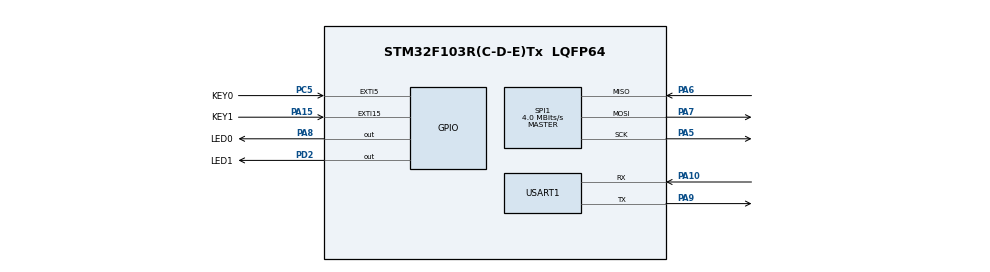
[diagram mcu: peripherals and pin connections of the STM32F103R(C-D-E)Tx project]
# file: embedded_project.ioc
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Mcu.Family=STM32F1
PA6.Mode=Full_Duplex_Master
PA7.Mode=Full_Duplex_Master
PA10.Mode=Asynchronous
SPI1.VirtualType=VM_MASTER
TIM3.AutoReloadPreload=TIM_AUTORELOAD_PRELOAD_ENABLE
PC5.GPIO_PuPd=GPIO_PULLUP
ProjectManager.StackSize=0x400
PA13.Signal=SYS_JTMS-SWDIO
PA15.GPIO_Label=KEY1
PA9.Mode=Asynchronous
PA8.GPIO_Label=LED0
ProjectManager.TargetToolchain=SW4STM32
SPI1.Direction=SPI_DIRECTION_2LINES
TIM3.Period=9999
PA9.Signal=USART1_TX
SPI1.CalculateBaudRate=4.0 MBits/s
TIM3.ClockDivision=TIM_CLOCKDIVISION_DIV4
NVIC.EXTI15_10_IRQn=true\:2\:0\:true\:false\:true\:true\:true
PA5.Signal=SPI1_SCK
board=custom
NVIC.TIM3_IRQn=true\:3\:0\:true\:false\:true\:true\:true
RCC.APB2Freq_Value=8000000
SPI1.Mode=SPI_MODE_MASTER
PA14.Mode=Serial_Wire
TIM3.Prescaler=7199
PA8.Signal=GPIO_Output
PA13.Mode=Serial_Wire
Mcu.Name=STM32F103R(C-D-E)Tx
Mcu.Package=LQFP64
PA6.Signal=SPI1_MISO
PC5.GPIO_Label=KEY0
USART1.VirtualMode=VM_ASYNC
NVIC.EXTI9_5_IRQn=true\:4\:0\:true\:false\:true\:true\:true
PA10.Signal=USART1_RX
PA14.Signal=SYS_JTCK-SWCLK
PA15.Signal=GPXTI15
ProjectManager.HeapSize=0x200
NVIC.PriorityGroup=NVIC_PRIORITYGROUP_4
PA15.GPIO_PuPd=GPIO_PULLUP
PC5.Signal=GPXTI5
PD2.Signal=GPIO_Output
NVIC.USART1_IRQn=true\:1\:0\:true\:false\:true\:true\:true
RCC.APB1Freq_Value=8000000
VP_TIM3_VS_ClockSourceINT.Mode=Internal
PD2.GPIO_Label=LED1
PA5.Mode=Full_Duplex_Master
PA7.Signal=SPI1_MOSI

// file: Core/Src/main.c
/* USER CODE BEGIN Header */
/**
  ******************************************************************************
  * @file           : main.c
  * @brief          : Main program body
  ******************************************************************************
  * @attention
  *
  * <h2><center>&copy; Copyright (c) 2020 STMicroelectronics.
  * All rights reserved.</center></h2>
  *
  * This software component is licensed by ST under BSD 3-Clause license,
  * the "License"; You may not use this file except in compliance with the
  * License. You may obtain a copy of the License at:
  *                        opensource.org/licenses/BSD-3-Clause
  *
  ******************************************************************************
  */
/* USER CODE END Header */
#include "main.h"
#include "spi.h"
#include "tim.h"
#include "usart.h"
#include "gpio.h"

/* USER CODE BEGIN Includes */
#include <string.h>
#include "lcd.h"
#include "24l01.h"

/* USER CODE END Includes */

/* USER CODE BEGIN PV */
// 1 enable connection packet sending, 0 disable
uint8_t is_connected = 0;

uint8_t rxBuffer[1000];
uint8_t rxData[1024];
uint32_t rxLength;
uint8_t is_receiver = 0;
uint8_t display_buffer[TOTAL_LINE][CHAR_PER_LINE];
const uint8_t EMPTY_LINE[CHAR_PER_LINE] = {0};
uint8_t line_type[TOTAL_LINE];
uint16_t line_length = 0;

Message to_send;
Message received;

const int aleft = 21;
const int aright = 219;
const int atop = 21;
const int abottom = 299;
const int alineHeight = 20;
const int awidth = 190;
const int afontSize = 16;

uint8_t amemoryData[14][24] = { 0 };
int amemoryPosition[14];

int alineCount = 0;
int aend=0;
/* TODO:
 * 1. connection setup
 */

/* USER CODE END PV */

void SystemClock_Config(void);

int main(void) {

	/* MCU Configuration--------------------------------------------------------*/

	/* Reset of all peripherals, Initializes the Flash interface and the Systick. */
	HAL_Init();

	/* Configure the system clock */
	SystemClock_Config();

	/* Initialize all configured peripherals */
	MX_GPIO_Init();
	MX_USART1_UART_Init();
	MX_SPI1_Init();
	MX_TIM3_Init();
	/* USER CODE BEGIN 2 */
	LCD_Init();
	NRF_Init();
	//-------------------------------------------------------------------------------------------------
	LCD_Clear(CYAN);
	POINT_COLOR = BLACK;
	LCD_DrawRectangle(20, 20, 220, 300);
	LCD_Fill(aleft, atop, aright, abottom, WHITE);
	//-------------------------------------------------------------------------------------------------
	NRF24L01_Init();
	HAL_TIM_Base_Start_IT(&htim3);

	uint8_t packet_buffer[100];
	uint8_t line_buffer[500];
	uint8_t line_buffer_ptr = 0;
	char error_message[] = "NRF not initialized";
	while (NRF24L01_Check()) {
		HAL_UART_Transmit_IT(&huart1, (uint8_t *) error_message, strlen(error_message));
		HAL_Delay(1000);
	}
	HAL_UART_Transmit_IT(&huart1, (uint8_t *) error_message, strlen(error_message));

	/* USER CODE END 2 */

	/* Infinite loop */
	while (1) {

		/* USER CODE BEGIN 3 */
		NRF24L01_RX_Mode();
		HAL_Delay(100);
		if (is_connected) {

			if (NRF24L01_RxPacket(packet_buffer) == 0) {
				switch (((Message *) &packet_buffer)->message_type) {
					case MESSAGE_PAYLOAD: {
						line_type[line_length] = LINE_RECEIVED_MESSAGE;
						strcpy((char *) display_buffer[line_length], (char *) packet_buffer + 1);
						line_length++;

						HAL_UART_Transmit_IT(&huart1, (uint8_t *) packet_buffer + 1, strlen((char *) packet_buffer + 1));
						break;
					}
					case MESSAGE_FIN: {
						char log[] = "Connection Closed\n";
						HAL_UART_Transmit_IT(&huart1, (uint8_t *) log, strlen(log));

						disconnect();
						break;
					}
					case (MESSAGE_FRAG | MESSAGE_FRAG_START | MESSAGE_FRAG_MORE | MESSAGE_PAYLOAD): {
						strcpy((char *) line_buffer, (char *) packet_buffer + 1);
						line_buffer_ptr = strlen((char *) packet_buffer + 1);
						break;
					}
					case (MESSAGE_FRAG | MESSAGE_FRAG_MORE | MESSAGE_PAYLOAD): {
						strcpy((char *) line_buffer + line_buffer_ptr, (char *) packet_buffer + 1);
						line_buffer_ptr += strlen((char *) packet_buffer + 1);
						break;
					}
					case (MESSAGE_FRAG | MESSAGE_PAYLOAD): {
						strcpy((char *) line_buffer + line_buffer_ptr, (char *) packet_buffer + 1);
						line_buffer_ptr += strlen((char *) packet_buffer + 1);

						make_line((char *) line_buffer, line_buffer_ptr, LINE_RECEIVED_MESSAGE);
						// insert into display buffer
						break;
					}
					case MESSAGE_PEER: {
						line_type[line_length] = LINE_RECEIVED_MESSAGE;
						strcpy((char *) display_buffer[line_length], (char *) packet_buffer);
						line_length++;

						HAL_UART_Transmit_IT(&huart1, (uint8_t *) packet_buffer, strlen((char *) packet_buffer));
						break;
					}
					case MESSAGE_KEEP_ALIVE:
					default: {
						break;
					}

				}
			}
		}
		display();

		/* USER CODE END 3 */
	}
}

void SystemClock_Config(void)
{
  RCC_OscInitTypeDef RCC_OscInitStruct = {0};
  RCC_ClkInitTypeDef RCC_ClkInitStruct = {0};

  /** Initializes the RCC Oscillators according to the specified parameters
  * in the RCC_OscInitTypeDef structure.
  */
  RCC_OscInitStruct.OscillatorType = RCC_OSCILLATORTYPE_HSI;
  RCC_OscInitStruct.HSIState = RCC_HSI_ON;
  RCC_OscInitStruct.HSICalibrationValue = RCC_HSICALIBRATION_DEFAULT;
  RCC_OscInitStruct.PLL.PLLState = RCC_PLL_NONE;
  if (HAL_RCC_OscConfig(&RCC_OscInitStruct) != HAL_OK)
  {
    Error_Handler();
  }
  /** Initializes the CPU, AHB and APB buses clocks
  */
  RCC_ClkInitStruct.ClockType = RCC_CLOCKTYPE_HCLK|RCC_CLOCKTYPE_SYSCLK
                              |RCC_CLOCKTYPE_PCLK1|RCC_CLOCKTYPE_PCLK2;
  RCC_ClkInitStruct.SYSCLKSource = RCC_SYSCLKSOURCE_HSI;
  RCC_ClkInitStruct.AHBCLKDivider = RCC_SYSCLK_DIV1;
  RCC_ClkInitStruct.APB1CLKDivider = RCC_HCLK_DIV1;
  RCC_ClkInitStruct.APB2CLKDivider = RCC_HCLK_DIV1;

  if (HAL_RCC_ClockConfig(&RCC_ClkInitStruct, FLASH_LATENCY_0) != HAL_OK)
  {
    Error_Handler();
  }
}

/* USER CODE BEGIN 4 */
void disconnect() {
	is_connected = 0;
	Message message;
	message.message_type = MESSAGE_FIN;
	NRF24L01_TX_Mode();
	NRF24L01_TxPacket((uint8_t*)&message);

	for (uint8_t i = 0; i < 5; i++)
	{
		HAL_GPIO_TogglePin(LED0_GPIO_Port, LED0_Pin);
		HAL_Delay(300);
	}
	HAL_GPIO_WritePin(LED0_GPIO_Port, LED0_Pin, GPIO_PIN_SET);
}

void connect() {
	is_connected = 1;
	for (uint8_t i = 0; i < 5; i++)
	{
		HAL_GPIO_TogglePin(LED0_GPIO_Port, LED0_Pin);
		HAL_Delay(300);
	}
	HAL_GPIO_WritePin(LED0_GPIO_Port, LED0_Pin, GPIO_PIN_RESET);
}
//------display-----------------------------------------------------------------------------------
void showString(char msg[], int position) {
	int startPoint;
	if (position == aright) {
		POINT_COLOR = BLUE;
		int len=0;
		for (int i=0;i<strlen(msg);i++) {
			if (msg[i]!='\r')
				len++;
			else
				break;
		}
		startPoint=aright - len * (afontSize / 2);

	} else if (position == aleft) {
		POINT_COLOR = RED;
		startPoint=aleft;
	}
	LCD_ShowString(startPoint, atop + alineCount * alineHeight, awidth, afontSize, afontSize, (uint8_t*) msg);
	if (alineCount<13)
		alineCount++;
}
int last_line_length=0;
int flag=1;
void display()
{
	alineCount=0;
	int start=0;
	if (line_length>=15) {
		start=line_length-14;
		if (line_length==15 && flag) {
			LCD_Fill(aleft, atop, aright, abottom, WHITE);
			flag=0;
		}
		if (line_length>last_line_length)
			LCD_Fill(aleft, atop, aright, abottom, WHITE);
	}
	last_line_length=line_length;

	for (int i = start; i < line_length; i++)
	{
		switch (line_type[i]) {
			case LINE_RECEIVED_MESSAGE:
			{
				showString((char*)display_buffer[i], aleft);
				break;
			}
			case LINE_SENT_MESSAGE:
			{
				showString((char*)display_buffer[i], aright);
				break;
			}
			case LINE_CONNECTION:
			{
				// TODO:
				// show connection loss message
				showString((char*)display_buffer[i], aleft);
				break;
			}
			default:
			{
				break;
			}
		}
	}

}

void make_line(char *line_buffer, uint16_t len, uint8_t ltype)
{
	line_buffer[len] = '\0';
	char* ptr = line_buffer;
	while (*ptr != '\0')
	{
		line_type[line_length] = ltype;
		// clear the line
		strlcpy((char*)display_buffer[line_length], (char*)EMPTY_LINE, CHAR_PER_LINE);
		strlcpy((char*)display_buffer[line_length], ptr, CHAR_PER_LINE - 1);
		ptr += strlen((char*)display_buffer[line_length]);
		line_length++;
	}
}
void send_packet(char *payload, uint8_t message_type)
{
	NRF24L01_TX_Mode();

	Message message;

	if (strlen(payload) < 31)
	{
		message.message_type = MESSAGE_PAYLOAD;
		strcpy((char*)message.payload, payload);
	}
	else
	{
		message.message_type = MESSAGE_FRAG_START | MESSAGE_FRAG | MESSAGE_FRAG_MORE | MESSAGE_PAYLOAD;
		strlcpy((char*)message.payload, payload, 31);
		NRF24L01_TxPacket((uint8_t*)&message);
		char* ii;
		HAL_Delay(500);
		for (ii = payload + 31; strlen(ii) > 31; ii += 31)
		{
			message.message_type = MESSAGE_FRAG | MESSAGE_FRAG_MORE | MESSAGE_PAYLOAD;
			strlcpy((char*)message.payload, ii, 31);
			NRF24L01_TxPacket((uint8_t*)&message);
			HAL_Delay(500);
		}
		message.message_type = MESSAGE_FRAG | MESSAGE_PAYLOAD;
		strcpy((char*)message.payload, ii);
	}
	NRF24L01_TxPacket((uint8_t*)&message);
}

/* USER CODE END 4 */

void Error_Handler(void)
{
}

/************************ (C) COPYRIGHT STMicroelectronics *****END OF FILE****/
